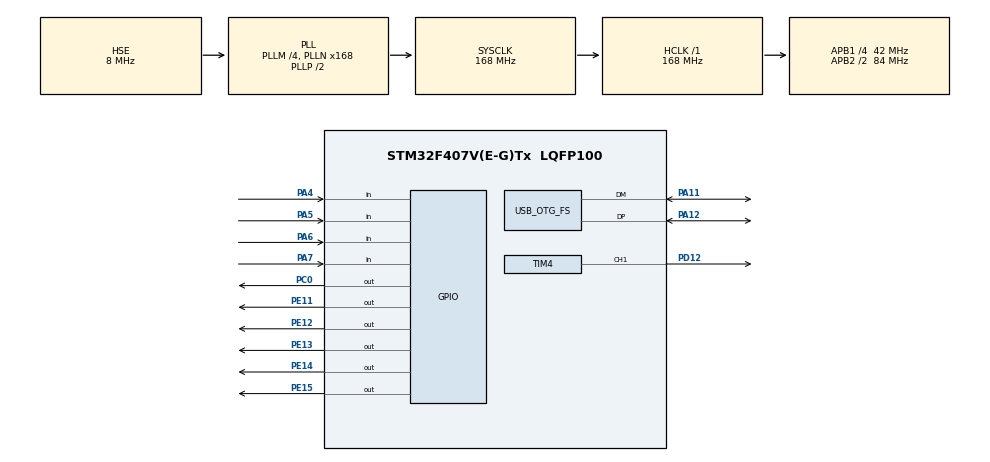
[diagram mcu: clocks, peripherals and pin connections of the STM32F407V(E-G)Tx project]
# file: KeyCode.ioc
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Mcu.Family=STM32F4
Mcu.Name=STM32F407V(E-G)Tx
Mcu.Package=LQFP100
NVIC.OTG_FS_IRQn=true\:0\:0\:false\:false\:true\:false\:true\:true
NVIC.PriorityGroup=NVIC_PRIORITYGROUP_4
NVIC.TIM3_IRQn=true\:0\:0\:false\:false\:true\:true\:true\:true
NVIC.TIM4_IRQn=true\:0\:0\:false\:false\:true\:true\:true\:true
PA11.Mode=Device_Only
PA11.Signal=USB_OTG_FS_DM
PA12.Mode=Device_Only
PA12.Signal=USB_OTG_FS_DP
PA13.Mode=Serial_Wire
PA13.Signal=SYS_JTMS-SWDIO
PA14.Mode=Serial_Wire
PA14.Signal=SYS_JTCK-SWCLK
PA4.GPIO_Mode=GPIO_MODE_INPUT
PA4.GPIO_PuPd=GPIO_NOPULL
PA4.Signal=GPIO_Input
PA5.GPIO_Mode=GPIO_MODE_INPUT
PA5.GPIO_PuPd=GPIO_NOPULL
PA5.Signal=GPIO_Input
PA6.GPIO_Mode=GPIO_MODE_INPUT
PA6.GPIO_PuPd=GPIO_NOPULL
PA6.Signal=GPIO_Input
PA7.GPIO_Mode=GPIO_MODE_INPUT
PA7.GPIO_PuPd=GPIO_NOPULL
PA7.Signal=GPIO_Input
PC0.PinState=GPIO_PIN_SET
PC0.Signal=GPIO_Output
PD12.Signal=S_TIM4_CH1
PE11.GPIO_ModeDefaultOutputPP=GPIO_MODE_OUTPUT_OD
PE11.GPIO_PuPd=GPIO_NOPULL
PE11.GPIO_Speed=GPIO_SPEED_FREQ_HIGH
PE11.PinState=GPIO_PIN_SET
PE11.Signal=GPIO_Output
PE12.GPIO_ModeDefaultOutputPP=GPIO_MODE_OUTPUT_OD
PE12.GPIO_PuPd=GPIO_NOPULL
PE12.GPIO_Speed=GPIO_SPEED_FREQ_HIGH
PE12.PinState=GPIO_PIN_SET
PE12.Signal=GPIO_Output
PE13.GPIO_ModeDefaultOutputPP=GPIO_MODE_OUTPUT_OD
PE13.GPIO_PuPd=GPIO_NOPULL
PE13.GPIO_Speed=GPIO_SPEED_FREQ_HIGH
PE13.PinState=GPIO_PIN_SET
PE13.Signal=GPIO_Output
PE14.GPIO_ModeDefaultOutputPP=GPIO_MODE_OUTPUT_OD
PE14.GPIO_PuPd=GPIO_NOPULL
PE14.GPIO_Speed=GPIO_SPEED_FREQ_HIGH
PE14.PinState=GPIO_PIN_SET
PE14.Signal=GPIO_Output
PE15.GPIO_ModeDefaultOutputPP=GPIO_MODE_OUTPUT_OD
PE15.GPIO_PuPd=GPIO_NOPULL
PE15.GPIO_Speed=GPIO_SPEED_FREQ_HIGH
PE15.PinState=GPIO_PIN_SET
PE15.Signal=GPIO_Output
PH0-OSC_IN.Mode=HSE-External-Oscillator
PH0-OSC_IN.Signal=RCC_OSC_IN
PH1-OSC_OUT.Mode=HSE-External-Oscillator
PH1-OSC_OUT.Signal=RCC_OSC_OUT
ProjectManager.HeapSize=0x1000
ProjectManager.StackSize=0x1000
ProjectManager.TargetToolchain=MDK-ARM V5.32
RCC.48MHZClocksFreq_Value=48000000
RCC.AHBFreq_Value=168000000
RCC.APB1CLKDivider=RCC_HCLK_DIV4
RCC.APB1Freq_Value=42000000
RCC.APB1TimFreq_Value=84000000
RCC.APB2CLKDivider=RCC_HCLK_DIV2
RCC.APB2Freq_Value=84000000
RCC.APB2TimFreq_Value=168000000
RCC.CortexFreq_Value=168000000
RCC.HCLKFreq_Value=168000000
RCC.HSE_VALUE=8000000
RCC.HSI_VALUE=16000000
RCC.LSE_VALUE=32768
RCC.PLLM=4
RCC.PLLN=168
RCC.PLLQ=7
RCC.SYSCLKFreq_VALUE=168000000
RCC.SYSCLKSource=RCC_SYSCLKSOURCE_PLLCLK
RCC.VCOOutputFreq_Value=336000000
SH.S_TIM4_CH1.0=TIM4_CH1,PWM Generation1 CH1
TIM3.Prescaler=83
TIM4.Channel-PWM\ Generation1\ CH1=TIM_CHANNEL_1
TIM4.Period=1000
TIM4.Prescaler=83
USB_DEVICE.CLASS_NAME_FS=HID
USB_DEVICE.VirtualMode-HID_FS=Hid
USB_DEVICE.VirtualModeFS=Hid_FS
USB_OTG_FS.VirtualMode=Device_Only
VP_TIM3_VS_ClockSourceINT.Mode=Internal
VP_TIM4_VS_ClockSourceINT.Mode=Internal
VP_USB_DEVICE_VS_USB_DEVICE_HID_FS.Mode=HID_FS
board=custom

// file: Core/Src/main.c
/* USER CODE BEGIN Header */
/**
  ******************************************************************************
  * @file           : main.c
  * @brief          : Main program body
  ******************************************************************************
  * @attention
  *
  * Copyright (c) 2025 STMicroelectronics.
  * All rights reserved.
  *
  * This software is licensed under terms that can be found in the LICENSE file
  * in the root directory of this software component.
  * If no LICENSE file comes with this software, it is provided AS-IS.
  *
  ******************************************************************************
  */
/* USER CODE END Header */
#include "main.h"
#include "tim.h"
#include "usb_device.h"
#include "gpio.h"
#include "ws2812.h"

/* USER CODE BEGIN Includes */
#include "usbd_hid.h"
#include "matrix_keyboard.h"  // 包含矩阵键盘头文件
#include <stdbool.h>

/* USER CODE END Includes */

/* USER CODE BEGIN PV */
extern USBD_HandleTypeDef hUsbDeviceFS;
// HID报告结构体（兼容标准键盘）
#pragma pack(push, 1)
typedef struct {
    uint8_t modifier;   // 修饰键
    uint8_t reserved;   // 保留
    uint8_t keycode[6]; // 最多6键
} HID_KeyboardReport;
#pragma pack(pop)

// 添加键盘报告变量
static HID_KeyboardReport keyboard_report;

// 发送HID报告
void Send_HID_Report(uint8_t keycode) {
    HID_KeyboardReport report = {0};

    if (keycode != 0) {
        report.keycode[0] = keycode; // 单键按下
    }

    // 通过USB发送报告
    USBD_HID_SendReport(&hUsbDeviceFS, (uint8_t*)&report, sizeof(report));
    HAL_Delay(20); // 等待数据发送完成
}

/* USER CODE END PV */

void SystemClock_Config(void);

int main(void)
{

  /* MCU Configuration--------------------------------------------------------*/

  /* Reset of all peripherals, Initializes the Flash interface and the Systick. */
  HAL_Init();

  /* Configure the system clock */
  SystemClock_Config();

  /* Initialize all configured peripherals */
  MX_GPIO_Init();
  MX_USB_DEVICE_Init();
  MX_TIM3_Init();
  MX_TIM4_Init();
  /* USER CODE BEGIN 2 */
  WS2812_Init();
  HAL_TIM_Base_Start_IT(&htim3);
  MatrixKeyboard_Init();
  /* 定义一个缓冲区来接收按键事件 */
   KeyEvent key_events_buffer[MAX_PRESSED_KEYS];

  // 用于标记HID报告是否需要更新并发送
  bool report_needs_update = false;

  // 清空初始的键盘报告
  memset(&keyboard_report, 0, sizeof(keyboard_report));

  // 模式切换相关变量
  static uint32_t num_lock_press_time = 0;
  static bool num_lock_long_press_handled = false;

  // 设置默认背光模式
  WS2812_SetMode(WS2812_MODE_STATIC);
  WS2812_SetBrightness(50);

  /* USER CODE END 2 */

  /* Infinite loop */
  /* USER CODE BEGIN WHILE */
  while (1)
  {
    // 1. 从事件队列获取按键事件（由TIM3中断产生）
        uint8_t event_count = 0;
        for (uint8_t i = 0; i < MAX_PRESSED_KEYS; i++) {
            if (MatrixKeyboard_PopEvent(&key_events_buffer[i])) {
                event_count++;
            } else {
                break;
            }
        }

        // 2. 如果有任何事件发生，则处理它们
        if (event_count > 0) {
            // 标记报告需要更新
            report_needs_update = true;

            for (uint8_t i = 0; i < event_count; i++) {
                KeyEvent event = key_events_buffer[i];

                // 检查是否是Num Lock键 (ROW0, COL0, 键码0x53)
                bool is_num_lock = (event.row == 0 && event.col == 0 && event.key_code == 0x53);

                if (event.event == KEY_EVENT_PRESS)
                {
                    if (is_num_lock) {
                        num_lock_press_time = HAL_GetTick();
                        num_lock_long_press_handled = false;
                    }

                    // 按下事件: 将键码添加到HID报告中
                    // 查找一个空位来存放新的键码
                    for (int j = 0; j < 6; j++) {
                        if (keyboard_report.keycode[j] == 0x00) {
                            keyboard_report.keycode[j] = event.key_code;
                            break;
                        }
                    }

                    // 通知WS2812按键按下事件
                    WS2812_OnKeyPress(event.row, event.col);
                }
                else if (event.event == KEY_EVENT_LONG_PRESS)
                {
                    if (is_num_lock && !num_lock_long_press_handled) {
                        // Num Lock长按切换背光模式
                        WS2812_NextMode();
                        num_lock_long_press_handled = true;

                        // 不发送Num Lock的HID报告，避免切换系统Num Lock状态
                        continue;
                    }

                    // 其他键的长按处理
                    for (int j = 0; j < 6; j++) {
                        if (keyboard_report.keycode[j] == 0x00) {
                            keyboard_report.keycode[j] = event.key_code;
                            break;
                        }
                    }

                    WS2812_OnKeyPress(event.row, event.col);
                }
                else if (event.event == KEY_EVENT_REPEAT)
                {
                    // 连发事件处理
                    if (!is_num_lock) {  // Num Lock不处理连发
                        for (int j = 0; j < 6; j++) {
                            if (keyboard_report.keycode[j] == 0x00) {
                                keyboard_report.keycode[j] = event.key_code;
                                break;
                            }
                        }
                    }
                }
                else if (event.event == KEY_EVENT_RELEASE)
                {
                    if (is_num_lock) {
                        uint32_t press_duration = HAL_GetTick() - num_lock_press_time;

                        // 如果是短按且没有处理过长按，则正常发送Num Lock
                        if (press_duration < 1000 && !num_lock_long_press_handled) {
                            // 正常的Num Lock短按，发送HID报告
                        } else {
                            // 长按释放，不发送HID报告
                            continue;
                        }
                    }

                    // 释放事件: 从HID报告中移除该键码
                    for (int j = 0; j < 6; j++) {
                        if (keyboard_report.keycode[j] == event.key_code) {
                            keyboard_report.keycode[j] = 0x00; // 清除
                        }
                    }

                    // 通知WS2812按键释放事件
                    WS2812_OnKeyRelease(event.row, event.col);
                }
            }
        }

        // 3. 检查是否需要发送HID报告
        // 只有在按键状态变化时才发送，这比每次循环都发送更高效
        if (report_needs_update) {
            // 清除更新标记
            report_needs_update = false;

            // 发送HID报告（仅在状态变化时发送）
            USBD_HID_SendReport(&hUsbDeviceFS, (uint8_t*)&keyboard_report, sizeof(keyboard_report));

            // 为了处理按键释放，我们需要在发送完有效报告后，
            // 立即发送一个全零的 "释放" 报告。
            // 但更好的做法是让PC自己处理按键释放。
            // 只有当所有按键都释放时，我们才需要发送一个全零报告。
            // 我们可以通过检查 keyboard_report 是否全为0来判断。
            bool all_keys_released = true;
            for(int j=0; j<6; j++) {
                if (keyboard_report.keycode[j] != 0) {
                    all_keys_released = false;
                    break;
                }
            }

            // 如果所有按键都释放了，并且上一次不是全零报告，则发送一次全零报告
            if(all_keys_released){
                 // 稍作延时，确保上一个报告被PC接收
                 // HAL_Delay(1);
                 // 发送全零报告
                 memset(&keyboard_report, 0, sizeof(keyboard_report));
                 USBD_HID_SendReport(&hUsbDeviceFS, (uint8_t*)&keyboard_report, sizeof(keyboard_report));
            }
        }

        // 处理WS2812动态效果
        WS2812_ProcessEffects();

        // 更新 WS2812 LED 如果有变化
        if (report_needs_update) {
            WS2812_Update();
        }

        // 可以在这里加一个非常短的延时，以降低CPU使用率，但不是必须的
        // HAL_Delay(1);
    }
    /* USER CODE END WHILE */

}

void SystemClock_Config(void)
{
  RCC_OscInitTypeDef RCC_OscInitStruct = {0};
  RCC_ClkInitTypeDef RCC_ClkInitStruct = {0};

  /** Configure the main internal regulator output voltage
  */
  __HAL_RCC_PWR_CLK_ENABLE();
  __HAL_PWR_VOLTAGESCALING_CONFIG(PWR_REGULATOR_VOLTAGE_SCALE1);

  /** Initializes the RCC Oscillators according to the specified parameters
  * in the RCC_OscInitTypeDef structure.
  */
  RCC_OscInitStruct.OscillatorType = RCC_OSCILLATORTYPE_HSE;
  RCC_OscInitStruct.HSEState = RCC_HSE_ON;
  RCC_OscInitStruct.PLL.PLLState = RCC_PLL_ON;
  RCC_OscInitStruct.PLL.PLLSource = RCC_PLLSOURCE_HSE;
  RCC_OscInitStruct.PLL.PLLM = 4;
  RCC_OscInitStruct.PLL.PLLN = 168;
  RCC_OscInitStruct.PLL.PLLP = RCC_PLLP_DIV2;
  RCC_OscInitStruct.PLL.PLLQ = 7;
  if (HAL_RCC_OscConfig(&RCC_OscInitStruct) != HAL_OK)
  {
    Error_Handler();
  }

  /** Initializes the CPU, AHB and APB buses clocks
  */
  RCC_ClkInitStruct.ClockType = RCC_CLOCKTYPE_HCLK|RCC_CLOCKTYPE_SYSCLK
                              |RCC_CLOCKTYPE_PCLK1|RCC_CLOCKTYPE_PCLK2;
  RCC_ClkInitStruct.SYSCLKSource = RCC_SYSCLKSOURCE_PLLCLK;
  RCC_ClkInitStruct.AHBCLKDivider = RCC_SYSCLK_DIV1;
  RCC_ClkInitStruct.APB1CLKDivider = RCC_HCLK_DIV4;
  RCC_ClkInitStruct.APB2CLKDivider = RCC_HCLK_DIV2;

  if (HAL_RCC_ClockConfig(&RCC_ClkInitStruct, FLASH_LATENCY_5) != HAL_OK)
  {
    Error_Handler();
  }
}

/* USER CODE BEGIN 4 */
void HAL_TIM_PeriodElapsedCallback(TIM_HandleTypeDef *htim)
{
  if (htim->Instance == TIM3) {
    MatrixKeyboard_ScanStep_ISR();
  }
}
/* USER CODE END 4 */

void Error_Handler(void)
{
  __disable_irq();
  while (1)
  {
  }
}
